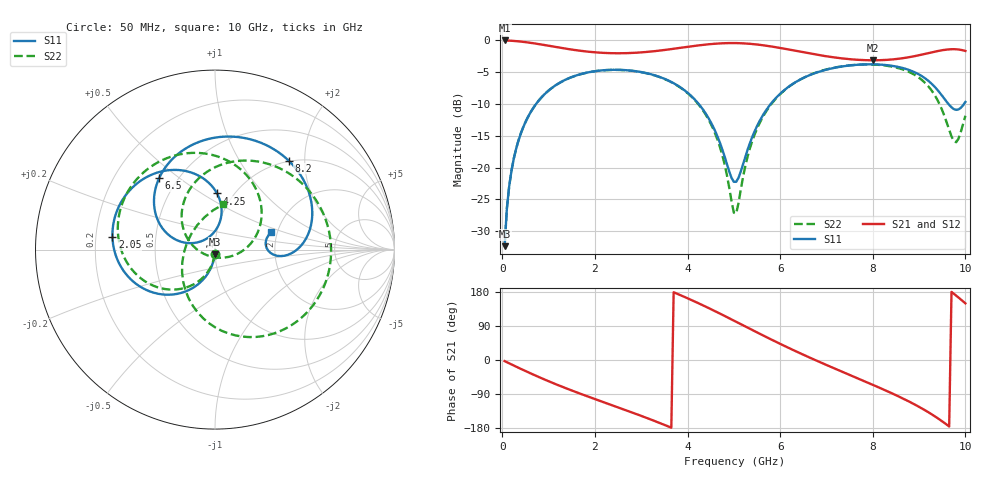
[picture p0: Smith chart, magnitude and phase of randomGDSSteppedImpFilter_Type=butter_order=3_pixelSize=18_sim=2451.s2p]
! freq	dB(S11)	phase(S11)	dB(S12)	phase(S12)
!  dB(S21)	phase(S21)	dB(S22)	phase(S22)
!S-par simulation data
#  GHz  S  DB  R 50
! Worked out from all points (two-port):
!   200 points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, 50 MHz to 10 GHz, reference 50 ohm
!   highest |S21| = -0.01 dB at 50 MHz (marker M1); lowest = -3.1 dB at 8 GHz (marker M2)
!   |S21| within 3 dB of the highest: start of sweep to 7.59 GHz; 8.4 GHz to end of sweep
!   lowest |S11| = -32.4 dB at 50 MHz (marker M3), VSWR 1.05, Z = 49.8 - j2.4 ohm
!   |S11| at or under -10 dB: start of sweep to 730 MHz; 4.24 GHz to 5.797 GHz (1.556 GHz wide, 31 % of centre); 9.634 GHz to 9.97 GHz (336.2 MHz wide, 3.43 % of centre)
!   |S22| runs from -32.4 to -3.8 dB; largest |S21 - S12| = 0
!   S11 on the Smith chart (normalised r, x): 50 MHz: 1.00, -0.05; 2.05 GHz: 0.27, +0.06; 4.25 GHz: 0.84, +0.58; 6.5 GHz: 0.40, +0.43; 8.2 GHz: 0.98, +1.67; 10 GHz: 1.86, +0.40
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0.05  -32.37 -92.8  -0.01 -3.0  -0.01 -3.0  -32.37 -93.2
0.2  -20.43 -101.4  -0.06 -11.8  -0.06 -11.8  -20.43 -103.0
0.5  -12.85 -117.6  -0.27 -29.1  -0.27 -29.1  -12.86 -121.6
1.1  -7.32 -147.2  -0.97 -61.1  -0.97 -61.1  -7.33 -156.1
1.75  -5.20 -175.1  -1.69 -91.9  -1.69 -91.9  -5.21 170.2
2.05  -4.80 173.0  -1.90 -105.3  -1.90 -105.3  -4.81 155.3
2.8  -4.77 144.3  -1.98 -138.4  -1.98 -138.4  -4.79 118.3
3.4  -5.76 121.1  -1.60 -166.2  -1.60 -166.2  -5.78 86.5
4.25  -10.08 87.9  -0.78 149.0  -0.78 149.0  -10.19 33.5
4.65  -15.18 79.4  -0.50 125.5  -0.50 125.5  -15.69 0.2
5.05  -22.25 129.8  -0.43 100.9  -0.43 100.9  -27.25 -114.3
5.55  -12.77 165.5  -0.69 69.8  -0.69 69.8  -13.11 144.4
6.05  -8.06 147.7  -1.25 39.7  -1.25 39.7  -8.12 106.3
6.5  -5.91 127.8  -1.87 14.0  -1.87 14.0  -5.90 76.5
6.7  -5.28 118.8  -2.13 3.0  -2.13 3.0  -5.26 64.1
7.4  -4.04 87.3  -2.88 -34.2  -2.88 -34.2  -4.01 23.3
8  -3.77 59.8  -3.13 -65.5  -3.13 -65.5  -3.80 -10.1
8.2  -3.83 50.5  -3.10 -76.2  -3.10 -76.2  -3.90 -21.3
8.35  -3.94 43.3  -3.04 -84.4  -3.04 -84.4  -4.04 -30.0
9.15  -6.07 4.9  -2.09 -134.1  -2.09 -134.1  -6.83 -84.9
9.75  -10.81 1.6  -1.38 175.0  -1.38 175.0  -15.85 168.0
10  -9.68 17.0  -1.66 149.6  -1.66 149.6  -11.86 79.9
